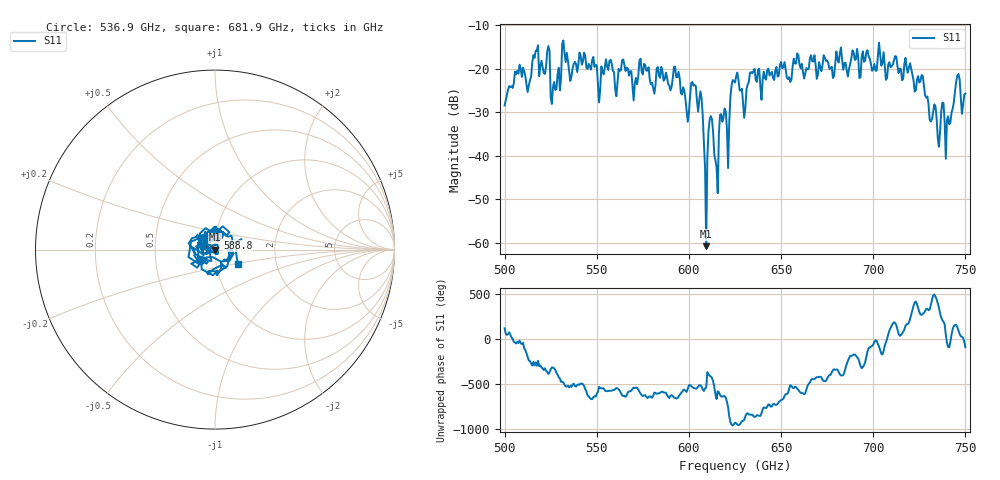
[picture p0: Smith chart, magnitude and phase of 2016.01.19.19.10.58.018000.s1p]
!Created with skrf (http://scikit-rf.org).
# GHz S RI R 50.0
!freq ReS11 ImS11
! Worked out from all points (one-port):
!   401 points, 500 GHz to 750 GHz, reference 50 ohm
!   lowest |S11| = -60.8 dB at 609.4 GHz (marker M1), VSWR 1.00, Z = 49.9 + j0.000112 ohm
!   |S11| at or under -10 dB: start of sweep to end of sweep
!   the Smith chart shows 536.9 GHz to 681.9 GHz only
!   S11 on the Smith chart (normalised r, x): 536.9 GHz: 0.84, -0.10; 588.8 GHz: 1.02, +0.13; 681.9 GHz: 1.27, -0.21
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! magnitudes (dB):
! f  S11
! 500 GHz  -28.4
! 506.9 GHz  -20.5
! 513.1 GHz  -23.8
! 516.9 GHz  -15.8
! 523.1 GHz  -16.0
! 526.2 GHz  -24.2
! 531.2 GHz  -14.2
! 536.9 GHz  -19.9
! 562.5 GHz  -20.5
! 588.8 GHz  -23.5
! 593.8 GHz  -21.9
! 598.8 GHz  -29.6
! 602.5 GHz  -23.9
! 606.2 GHz  -25.2
! 609.4 GHz  -60.8
! 611.9 GHz  -30.9
! 615 GHz  -42.6
! 625 GHz  -23.2
! 629.4 GHz  -28.0
! 634.4 GHz  -21.0
! 656.2 GHz  -19.6
! 681.9 GHz  -16.4
! 687.5 GHz  -18.8
! 718.8 GHz  -20.9
! 735.6 GHz  -38.0
! 740.6 GHz  -30.9
! 745.6 GHz  -21.6
! 750 GHz  -25.7
